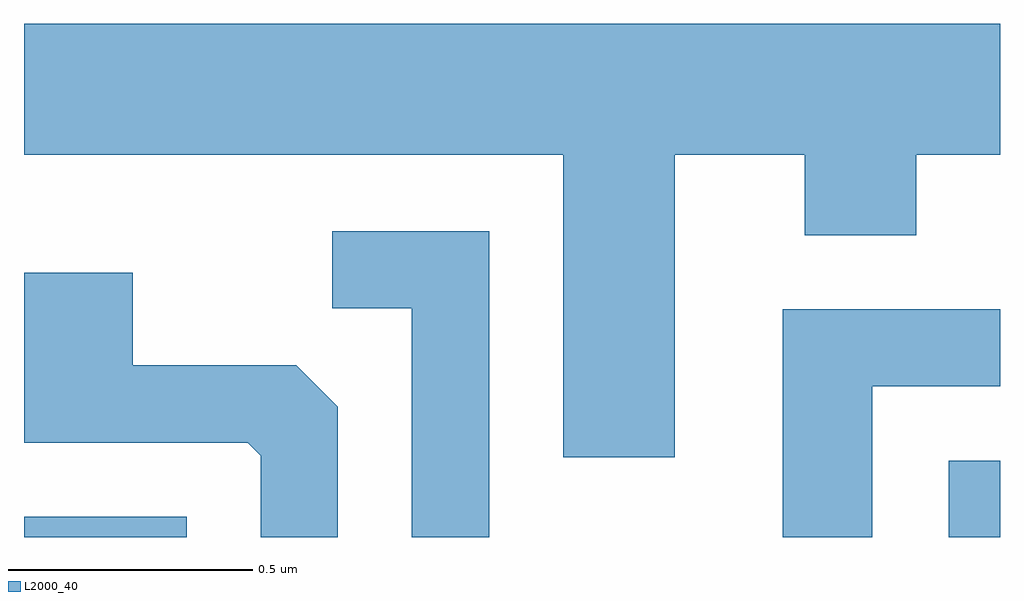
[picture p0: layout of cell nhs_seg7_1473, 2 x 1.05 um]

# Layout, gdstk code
import gdstk
lib = gdstk.Library(unit=1e-6, precision=1e-09)
def R(c, l, rs):  # rectangles x0, y0, x1, y1
    for r in rs: c.add(gdstk.rectangle(r[:2], r[2:], *l))
def P(c, l, *ps):  # polygons
    for p in ps: c.add(gdstk.Polygon(p, *l))
L2000_40 = (2000, 40)

nhs_seg7_1473 = lib.new_cell('nhs_seg7_1473')
R(nhs_seg7_1473, L2000_40, [(195.611,1771.252,195.944,1771.294), (197.506,1771.252,197.611,1771.409)])
P(nhs_seg7_1473, L2000_40, [(196.944,1772.036),(197.211,1772.036),(197.211,1771.871),(197.439,1771.871),(197.439,1772.036),(197.611,1772.036),(197.611,1772.304),(195.611,1772.304),(195.611,1772.036),(196.716,1772.036),(196.716,1771.416),(196.944,1771.416)],
  [(196.564,1771.879),(196.243,1771.879),(196.243,1771.721),(196.406,1771.721),(196.406,1771.252),(196.564,1771.252)],
  [(196.254,1771.519),(196.169,1771.604),(195.834,1771.604),(195.834,1771.794),(195.611,1771.794),(195.611,1771.446),(196.069,1771.446),(196.096,1771.419),(196.096,1771.252),(196.254,1771.252)],
  [(197.349,1771.561),(197.611,1771.561),(197.611,1771.719),(197.166,1771.719),(197.166,1771.252),(197.349,1771.252)])

lib.write_gds('nhs_seg7_1473.gds')
